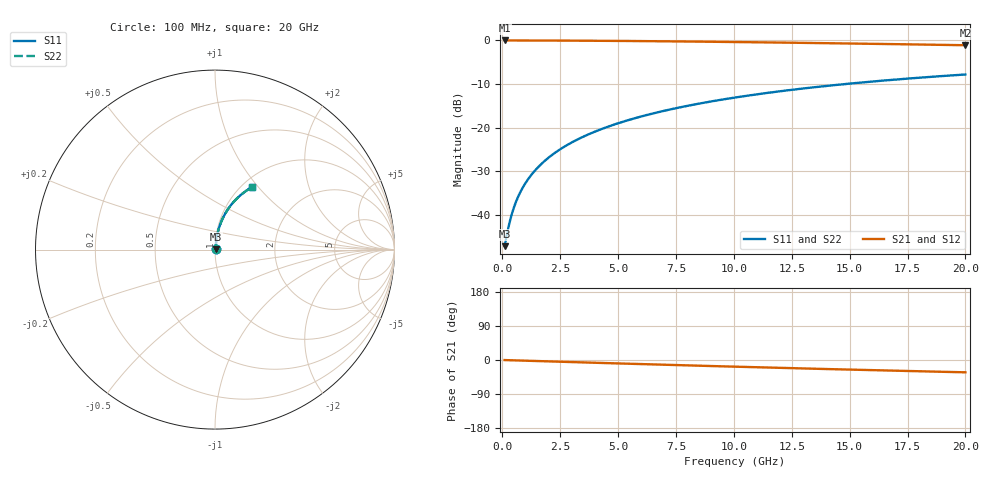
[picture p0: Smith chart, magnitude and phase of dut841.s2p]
! Touchstone file exported from HFSS 2024.1.0
!  File:  C:/UserFiles/LocalFiles/RDL_TSV_Batchsim/temp_RDL_bottom_841_1779863669.aedt
!  Generated:  02:37:23 PM May 27, 2026
!  Design:  RDL_bottom
!  Project:  temp_RDL_bottom_841_1779863669
!  Setup:  Setup1
!  Solution:  Sweep
! Variables:
!  dtsv = 10.80580581um
!  hbump = 3um
!  htsv = 93.57um
!  ldown = 372.26um
!  lrdl = 100um
!  p = 40
!  p1 = 50.84um
!  rhole = 1um
!  t = 450um
!  tdown = 3.35um
!  trdl = 3.915915916um
!  wdown = 10.86um
!  wrdl = 20um
# GHz S MA R 50.000000
! Terminal data exported
! Port[1] = RDL1_T1
! Port[2] = RDL1_T2
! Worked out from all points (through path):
!   200 points, 100 MHz to 20 GHz, reference 50 ohm
!   highest |S21| = -0.03 dB at 100 MHz (marker M1); lowest = -1.1 dB at 20 GHz (marker M2)
!   group delay of S21, straight-line fit = 4.52 ps
!   lowest |S11| = -47.2 dB at 100 MHz (marker M3), VSWR 1.01, Z = 50.4 + j0.233 ohm
!   |S11| at or under -10 dB: start of sweep to 14.85 GHz
!   |S22| runs from -47.2 to -7.8 dB; largest |S21 - S12| = 5.6e-15
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0.1  0.004379 31.9  0.9963 -0.2  0.9963 -0.2  0.004379 31.9
! Gamma 0 0 0 0
! Port Impedance 50 0 50 0
0.2  0.005958 50.8  0.9962 -0.4  0.9962 -0.4  0.005958 50.8
0.3  0.007901 60.9  0.9962 -0.6  0.9962 -0.6  0.007901 60.9
0.4  0.009985 66.8  0.9961 -0.7  0.9961 -0.7  0.009985 66.8
0.5  0.01213 70.6  0.996 -0.9  0.996 -0.9  0.01213 70.6
0.6  0.0143 73.1  0.9959 -1.1  0.9959 -1.1  0.0143 73.1
0.8  0.01868 76.4  0.9957 -1.5  0.9957 -1.5  0.01868 76.4
1.1  0.0253 79.0  0.9953 -2.0  0.9953 -2.0  0.0253 79.0
1.5  0.03416 80.7  0.9948 -2.8  0.9948 -2.8  0.03416 80.7
1.8  0.04083 81.4  0.9943 -3.3  0.9943 -3.3  0.04083 81.4
2.1  0.04751 81.7  0.9937 -3.9  0.9937 -3.9  0.04751 81.7
2.7  0.06089 81.9  0.9923 -4.9  0.9923 -4.9  0.06089 81.9
3.5  0.07873 81.6  0.9901 -6.4  0.9901 -6.4  0.07873 81.6
4.2  0.0943 81.0  0.9877 -7.6  0.9877 -7.6  0.0943 81.0
5  0.112 80.1  0.9845 -9.1  0.9845 -9.1  0.112 80.1
5.9  0.1319 79.1  0.9804 -10.6  0.9804 -10.6  0.1319 79.0
6.8  0.1516 77.9  0.9758 -12.2  0.9758 -12.2  0.1516 77.9
8.3  0.184 75.8  0.9673 -14.7  0.9673 -14.7  0.184 75.8
10.1  0.2221 73.2  0.9558 -17.7  0.9558 -17.7  0.2221 73.2
13.4  0.2886 68.4  0.9321 -22.9  0.9321 -22.9  0.2886 68.4
16.7  0.3501 63.7  0.906 -27.9  0.906 -27.9  0.3501 63.7
20  0.406 59.2  0.8786 -32.5  0.8786 -32.5  0.406 59.1
